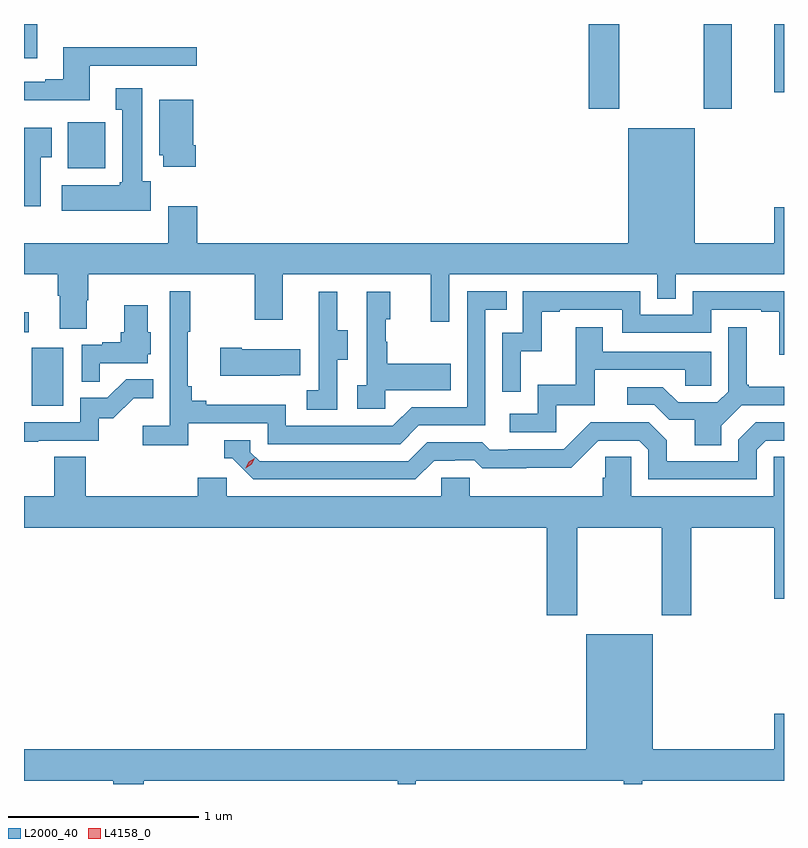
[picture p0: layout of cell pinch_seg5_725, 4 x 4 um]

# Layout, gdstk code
import gdstk
lib = gdstk.Library(unit=1e-6, precision=1e-09)
def R(c, l, rs):  # rectangles x0, y0, x1, y1
    for r in rs: c.add(gdstk.rectangle(r[:2], r[2:], *l))
def P(c, l, *ps):  # polygons
    for p in ps: c.add(gdstk.Polygon(p, *l))
L2000_40 = (2000, 40)
L4158_0 = (4158, 0)

pinch_seg5_725 = lib.new_cell('pinch_seg5_725')
R(pinch_seg5_725, L2000_40, [(1108.154,853.404,1108.318,853.711), (1108.112,853.791,1108.138,853.897), (1108.343,854.654,1108.54,854.896), (1111.085,854.967,1111.245,855.414), (1111.69,854.967,1111.837,855.414), (1112.06,855.054,1112.112,855.414), (1108.112,855.234,1108.183,855.414)])
P(pinch_seg5_725, L2000_40, [(1108.459,855.195),(1109.02,855.195),(1109.02,855.292),(1108.319,855.292),(1108.319,855.124),(1108.223,855.124),(1108.223,855.111),(1108.112,855.111),(1108.112,855.014),(1108.459,855.014)],
  [(1108.78,854.586),(1108.735,854.586),(1108.735,855.076),(1108.595,855.076),(1108.595,854.963),(1108.628,854.963),(1108.628,854.58),(1108.615,854.58),(1108.615,854.566),(1108.311,854.566),(1108.311,854.432),(1108.78,854.432)],
  [(1109.015,854.776),(1109.002,854.776),(1109.002,855.016),(1108.823,855.016),(1108.823,854.724),(1108.844,854.724),(1108.844,854.664),(1109.015,854.664)],
  [(1108.201,854.713),(1108.258,854.713),(1108.258,854.869),(1108.112,854.869),(1108.112,854.454),(1108.201,854.454)],
  [(1108.441,853.959),(1108.449,853.959),(1108.449,854.096),(1109.326,854.096),(1109.326,853.857),(1109.473,853.857),(1109.473,854.096),(1110.254,854.096),(1110.254,853.848),(1110.351,853.848),(1110.351,854.096),(1111.446,854.096),(1111.446,853.969),(1111.542,853.969),(1111.542,854.096),(1112.112,854.096),(1112.112,854.449),(1112.06,854.449),(1112.06,854.26),(1111.642,854.26),(1111.642,854.866),(1111.292,854.866),(1111.292,854.26),(1109.024,854.26),(1109.024,854.455),(1108.871,854.455),(1108.871,854.26),(1108.112,854.26),(1108.112,854.096),(1108.289,854.096),(1108.289,853.984),(1108.301,853.984),(1108.301,853.81),(1108.441,853.81)],
  [(1108.976,853.314),(1109.394,853.314),(1109.394,853.203),(1110.091,853.203),(1110.19,853.302),(1110.54,853.302),(1110.54,853.911),(1110.653,853.911),(1110.653,854.007),(1110.444,854.007),(1110.444,853.398),(1110.153,853.398),(1110.054,853.299),(1109.49,853.299),(1109.49,853.411),(1109.071,853.411),(1109.071,853.43),(1108.994,853.43),(1108.994,853.507),(1108.975,853.507),(1108.975,853.795),(1108.987,853.795),(1108.987,854.008),(1108.878,854.008),(1108.878,853.3),(1108.737,853.3),(1108.737,853.198),(1108.976,853.198)],
  [(1110.726,853.691),(1110.836,853.691),(1110.836,853.899),(1110.931,853.899),(1110.931,853.911),(1111.26,853.911),(1111.26,853.788),(1111.728,853.788),(1111.728,853.911),(1111.991,853.911),(1111.991,853.899),(1112.087,853.899),(1112.087,853.673),(1112.112,853.673),(1112.112,854.007),(1111.632,854.007),(1111.632,853.884),(1111.356,853.884),(1111.356,854.007),(1110.738,854.007),(1110.738,853.788),(1110.63,853.788),(1110.63,853.479),(1110.726,853.479)],
  [(1109.76,853.648),(1109.815,853.648),(1109.815,853.803),(1109.761,853.803),(1109.761,854.005),(1109.663,854.005),(1109.663,853.791),(1109.664,853.791),(1109.664,853.487),(1109.601,853.487),(1109.601,853.384),(1109.76,853.384)],
  [(1110.012,853.487),(1110.359,853.487),(1110.359,853.627),(1110.025,853.627),(1110.025,853.742),(1110.015,853.742),(1110.015,853.86),(1110.04,853.86),(1110.04,854.005),(1109.916,854.005),(1109.916,853.514),(1109.865,853.514),(1109.865,853.389),(1110.012,853.389)],
  [(1108.511,853.629),(1108.762,853.629),(1108.762,853.677),(1108.78,853.677),(1108.78,853.791),(1108.762,853.791),(1108.762,853.933),(1108.64,853.933),(1108.64,853.791),(1108.622,853.791),(1108.622,853.738),(1108.523,853.738),(1108.523,853.725),(1108.416,853.725),(1108.416,853.531),(1108.511,853.531)],
  [(1110.912,853.407),(1111.117,853.407),(1111.117,853.593),(1111.591,853.593),(1111.591,853.509),(1111.728,853.509),(1111.728,853.689),(1111.159,853.689),(1111.159,853.819),(1111.015,853.819),(1111.015,853.516),(1110.816,853.516),(1110.816,853.362),(1110.669,853.362),(1110.669,853.266),(1110.912,853.266)],
  [(1111.783,853.3),(1111.89,853.407),(1112.112,853.407),(1112.112,853.504),(1111.927,853.504),(1111.927,853.516),(1111.915,853.516),(1111.915,853.819),(1111.818,853.819),(1111.818,853.479),(1111.761,853.422),(1111.555,853.422),(1111.474,853.503),(1111.287,853.503),(1111.287,853.41),(1111.428,853.41),(1111.508,853.33),(1111.643,853.33),(1111.643,853.198),(1111.783,853.198)],
  [(1109.459,853.565),(1109.567,853.565),(1109.567,853.702),(1109.257,853.702),(1109.257,853.71),(1109.145,853.71),(1109.145,853.562),(1109.459,853.562)],
  [(1108.187,853.221),(1108.506,853.221),(1108.506,853.338),(1108.582,853.338),(1108.689,853.445),(1108.793,853.445),(1108.793,853.544),(1108.649,853.544),(1108.551,853.446),(1108.407,853.446),(1108.407,853.317),(1108.112,853.317),(1108.112,853.216),(1108.187,853.216)],
  [(1110.271,853.116),(1110.378,853.116),(1110.378,853.119),(1110.481,853.119),(1110.523,853.077),(1110.756,853.077),(1110.756,853.079),(1110.992,853.079),(1111.134,853.221),(1111.35,853.221),(1111.398,853.173),(1111.398,853.017),(1111.968,853.017),(1111.968,853.173),(1112.016,853.221),(1112.112,853.221),(1112.112,853.317),(1111.962,853.317),(1111.872,853.227),(1111.872,853.113),(1111.495,853.113),(1111.495,853.223),(1111.401,853.317),(1111.095,853.317),(1110.954,853.176),(1110.661,853.176),(1110.661,853.173),(1110.562,853.173),(1110.523,853.212),(1110.234,853.212),(1110.135,853.113),(1109.352,853.113),(1109.304,853.161),(1109.304,853.224),(1109.165,853.224),(1109.165,853.128),(1109.208,853.128),(1109.319,853.017),(1110.172,853.017)],
  [(1111.023,852.764),(1111.468,852.764),(1111.468,852.303),(1111.623,852.303),(1111.623,852.764),(1112.06,852.764),(1112.06,852.39),(1112.112,852.39),(1112.112,853.136),(1112.058,853.136),(1112.058,852.928),(1111.308,852.928),(1111.308,853.136),(1111.171,853.136),(1111.171,853.026),(1111.157,853.026),(1111.157,852.928),(1110.459,852.928),(1110.459,853.026),(1110.309,853.026),(1110.309,852.928),(1109.178,852.928),(1109.178,853.026),(1109.027,853.026),(1109.027,852.928),(1108.436,852.928),(1108.436,853.136),(1108.271,853.136),(1108.271,852.928),(1108.112,852.928),(1108.112,852.764),(1110.863,852.764),(1110.863,852.303),(1111.023,852.303)],
  [(1108.743,851.432),(1110.078,851.432),(1110.078,851.414),(1110.174,851.414),(1110.174,851.432),(1111.269,851.432),(1111.269,851.414),(1111.367,851.414),(1111.367,851.432),(1112.112,851.432),(1112.112,851.785),(1112.06,851.785),(1112.06,851.596),(1111.42,851.596),(1111.42,852.202),(1111.07,852.202),(1111.07,851.596),(1108.112,851.596),(1108.112,851.432),(1108.583,851.432),(1108.583,851.414),(1108.743,851.414)])
P(pinch_seg5_725, L4158_0, [(1109.279,853.077),(1109.279,853.077),(1109.295,853.109),(1109.326,853.128),(1109.327,853.128),(1109.327,853.128),(1109.31,853.096),(1109.279,853.077)])

lib.write_gds('pinch_seg5_725.gds')
